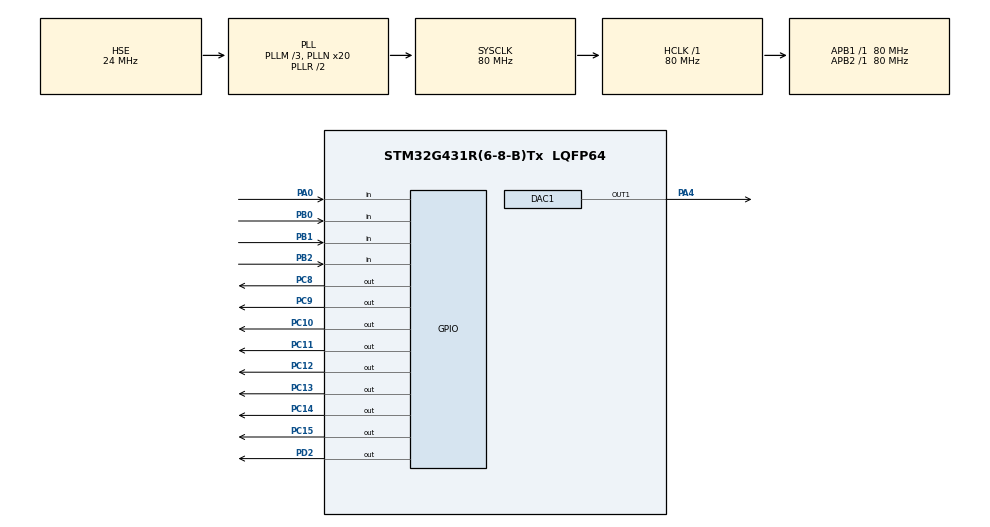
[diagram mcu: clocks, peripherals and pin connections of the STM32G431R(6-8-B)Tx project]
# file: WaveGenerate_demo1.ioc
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DAC1.DAC_HighFrequency_OUT1-DAC_OUT1=DAC_HIGH_FREQUENCY_INTERFACE_MODE_DISABLE
DAC1.DAC_Trigger_OUT1-DAC_OUT1=DAC_TRIGGER_T7_TRGO
Dma.DAC1_CH1.0.Direction=DMA_MEMORY_TO_PERIPH
Dma.DAC1_CH1.0.EventEnable=DISABLE
Dma.DAC1_CH1.0.Instance=DMA1_Channel1
Dma.DAC1_CH1.0.MemDataAlignment=DMA_MDATAALIGN_HALFWORD
Dma.DAC1_CH1.0.MemInc=DMA_MINC_ENABLE
Dma.DAC1_CH1.0.Mode=DMA_CIRCULAR
Dma.DAC1_CH1.0.PeriphDataAlignment=DMA_PDATAALIGN_WORD
Dma.DAC1_CH1.0.PeriphInc=DMA_PINC_DISABLE
Dma.DAC1_CH1.0.Polarity=HAL_DMAMUX_REQ_GEN_RISING
Dma.DAC1_CH1.0.Priority=DMA_PRIORITY_LOW
Dma.DAC1_CH1.0.RequestNumber=1
Dma.DAC1_CH1.0.SignalID=NONE
Dma.DAC1_CH1.0.SyncEnable=DISABLE
Dma.DAC1_CH1.0.SyncPolarity=HAL_DMAMUX_SYNC_NO_EVENT
Dma.DAC1_CH1.0.SyncRequestNumber=1
Dma.DAC1_CH1.0.SyncSignalID=NONE
Dma.Request0=DAC1_CH1
Mcu.Family=STM32G4
Mcu.Name=STM32G431R(6-8-B)Tx
Mcu.Package=LQFP64
NVIC.DMA1_Channel1_IRQn=true\:0\:0\:false\:false\:true\:false\:true\:true
NVIC.PriorityGroup=NVIC_PRIORITYGROUP_4
PA0.GPIO_Mode=GPIO_MODE_INPUT
PA0.GPIO_PuPd=GPIO_NOPULL
PA0.Signal=GPIO_Input
PA13.Mode=Serial_Wire
PA13.Signal=SYS_JTMS-SWDIO
PA14.Mode=Serial_Wire
PA14.Signal=SYS_JTCK-SWCLK
PA4.Signal=COMP_DAC11_group
PB0.GPIO_Mode=GPIO_MODE_INPUT
PB0.GPIO_PuPd=GPIO_NOPULL
PB0.Signal=GPIO_Input
PB1.GPIO_Mode=GPIO_MODE_INPUT
PB1.GPIO_PuPd=GPIO_NOPULL
PB1.Signal=GPIO_Input
PB2.GPIO_Mode=GPIO_MODE_INPUT
PB2.GPIO_PuPd=GPIO_NOPULL
PB2.Signal=GPIO_Input
PC10.GPIO_ModeDefaultOutputPP=GPIO_MODE_OUTPUT_PP
PC10.GPIO_PuPd=GPIO_NOPULL
PC10.GPIO_Speed=GPIO_SPEED_FREQ_LOW
PC10.PinState=GPIO_PIN_SET
PC10.Signal=GPIO_Output
PC11.GPIO_ModeDefaultOutputPP=GPIO_MODE_OUTPUT_PP
PC11.GPIO_PuPd=GPIO_NOPULL
PC11.GPIO_Speed=GPIO_SPEED_FREQ_LOW
PC11.PinState=GPIO_PIN_SET
PC11.Signal=GPIO_Output
PC12.GPIO_ModeDefaultOutputPP=GPIO_MODE_OUTPUT_PP
PC12.GPIO_PuPd=GPIO_NOPULL
PC12.GPIO_Speed=GPIO_SPEED_FREQ_LOW
PC12.PinState=GPIO_PIN_SET
PC12.Signal=GPIO_Output
PC13.GPIO_ModeDefaultOutputPP=GPIO_MODE_OUTPUT_PP
PC13.GPIO_PuPd=GPIO_NOPULL
PC13.GPIO_Speed=GPIO_SPEED_FREQ_LOW
PC13.PinState=GPIO_PIN_SET
PC13.Signal=GPIO_Output
PC14-OSC32_IN.GPIO_ModeDefaultOutputPP=GPIO_MODE_OUTPUT_PP
PC14-OSC32_IN.GPIO_PuPd=GPIO_NOPULL
PC14-OSC32_IN.GPIO_Speed=GPIO_SPEED_FREQ_LOW
PC14-OSC32_IN.PinState=GPIO_PIN_SET
PC14-OSC32_IN.Signal=GPIO_Output
PC15-OSC32_OUT.GPIO_ModeDefaultOutputPP=GPIO_MODE_OUTPUT_PP
PC15-OSC32_OUT.GPIO_PuPd=GPIO_NOPULL
PC15-OSC32_OUT.GPIO_Speed=GPIO_SPEED_FREQ_LOW
PC15-OSC32_OUT.PinState=GPIO_PIN_SET
PC15-OSC32_OUT.Signal=GPIO_Output
PC8.GPIO_ModeDefaultOutputPP=GPIO_MODE_OUTPUT_PP
PC8.GPIO_PuPd=GPIO_NOPULL
PC8.GPIO_Speed=GPIO_SPEED_FREQ_LOW
PC8.PinState=GPIO_PIN_SET
PC8.Signal=GPIO_Output
PC9.GPIO_ModeDefaultOutputPP=GPIO_MODE_OUTPUT_PP
PC9.GPIO_PuPd=GPIO_NOPULL
PC9.GPIO_Speed=GPIO_SPEED_FREQ_LOW
PC9.PinState=GPIO_PIN_SET
PC9.Signal=GPIO_Output
PD2.GPIO_ModeDefaultOutputPP=GPIO_MODE_OUTPUT_PP
PD2.GPIO_PuPd=GPIO_NOPULL
PD2.GPIO_Speed=GPIO_SPEED_FREQ_LOW
PD2.PinState=GPIO_PIN_SET
PD2.Signal=GPIO_Output
PF0-OSC_IN.Mode=HSE-External-Oscillator
PF0-OSC_IN.Signal=RCC_OSC_IN
PF1-OSC_OUT.Mode=HSE-External-Oscillator
PF1-OSC_OUT.Signal=RCC_OSC_OUT
ProjectManager.HeapSize=0x200
ProjectManager.StackSize=0x400
ProjectManager.TargetToolchain=MDK-ARM V5.32
RCC.ADC12Freq_Value=80000000
RCC.AHBFreq_Value=80000000
RCC.APB1Freq_Value=80000000
RCC.APB1TimFreq_Value=80000000
RCC.APB2Freq_Value=80000000
RCC.APB2TimFreq_Value=80000000
RCC.CortexFreq_Value=80000000
RCC.EXTERNAL_CLOCK_VALUE=12288000
RCC.HCLKFreq_Value=80000000
RCC.HSE_VALUE=24000000
RCC.HSI48_VALUE=48000000
RCC.HSI_VALUE=16000000
RCC.LSE_VALUE=32768
RCC.PLLM=RCC_PLLM_DIV3
RCC.PLLN=20
RCC.PLLSourceVirtual=RCC_PLLSOURCE_HSE
RCC.SYSCLKFreq_VALUE=80000000
RCC.SYSCLKSource=RCC_SYSCLKSOURCE_PLLCLK
RCC.USBFreq_Value=80000000
RCC.VCOOutputFreq_Value=160000000
SH.COMP_DAC11_group.0=DAC1_OUT1,DAC_OUT1
TIM7.PeriodNoDither=199
TIM7.TIM_MasterOutputTrigger=TIM_TRGO_UPDATE
VP_SYS_VS_DBSignals.Mode=DisableDeadBatterySignals
VP_TIM7_VS_ClockSourceINT.Mode=Enable_Timer
board=custom

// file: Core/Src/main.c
/* USER CODE BEGIN Header */
/**
  ******************************************************************************
  * @file           : main.c
  * @brief          : Main program body
  ******************************************************************************
  * @attention
  *
  * Copyright (c) 2025 STMicroelectronics.
  * All rights reserved.
  *
  * This software is licensed under terms that can be found in the LICENSE file
  * in the root directory of this software component.
  * If no LICENSE file comes with this software, it is provided AS-IS.
  *
  ******************************************************************************
  */
/* USER CODE END Header */
#include "main.h"
#include "dac.h"
#include "dma.h"
#include "tim.h"
#include "gpio.h"

/* USER CODE BEGIN Includes */
#include "math.h"
#include "key.h"
#include "lcd.h"
#include "My_lcd.h"
/* USER CODE END Includes */

/* USER CODE BEGIN PD */
void switch_mode(void);
uint16_t buff[400] = {0};
float amplitude_v   = 1.0f;
float frequency_khz = 1.0f;
uint16_t amplitude_u16;
uint8_t mode = 0;

uint32_t key_update_kick = 0;
uint32_t lcd_update_kick = 0;
/* USER CODE END PD */

void SystemClock_Config(void);

int main(void)
{

  /* MCU Configuration--------------------------------------------------------*/

  /* Reset of all peripherals, Initializes the Flash interface and the Systick. */
  HAL_Init();

  /* Configure the system clock */
  SystemClock_Config();

  /* Initialize all configured peripherals */
  MX_GPIO_Init();
  MX_DMA_Init();
  MX_DAC1_Init();
  MX_TIM7_Init();
  /* USER CODE BEGIN 2 */
	HAL_GPIO_WritePin(GPIOD, GPIO_PIN_2, GPIO_PIN_RESET);
	LCD_Init();
  LCD_Clear(Black);
  LCD_SetBackColor(Black);
  LCD_SetTextColor(White);
	HAL_TIM_Base_Start(&htim7);//开启定时器
//	amplitude_u16 = (uint16_t)(amplitude_v * 4095/3.3);//4095:12位DAC最大输出值；  3.3：参考电压；
//	float omega = 2 * 3.1415926f * frequency_khz / 400.0f;//提前计算用到的浮点数，使代码运行更流畅
//	for(uint16_t i = 0;i < 400;i++)
//	{
//		buff[i] = amplitude_u16 + amplitude_u16 * (sin(omega * i));
//	}
//	for(uint16_t i = 0;i < 400;i++)
//	{
//		buff[i] = 2000+2000*(sin(2*3.14/400*i));
//	}                          //计算波点对应值并装入数组
//	HAL_DAC_Start_DMA(&hdac1,DAC_CHANNEL_1,(uint32_t *)&buff[0],400,DAC_ALIGN_12B_R);//开启DAC和DMA转运
  /* USER CODE END 2 */

  /* Infinite loop */
  /* USER CODE BEGIN WHILE */
  while (1)
  {
		if(HAL_GetTick() - key_update_kick >=10)
		{
			key_serv();//10ms进行一次按键扫描
			key_update_kick = HAL_GetTick();
		}
		key_proc();
		switch_mode();
		if(HAL_GetTick() - lcd_update_kick >=100)
		{
			lcd_proc();//100ms刷新一次lcd
			lcd_update_kick = HAL_GetTick();
		}
    /* USER CODE END WHILE */

    /* USER CODE BEGIN 3 */
		GPIOA->ODR ^= 1 << 5;
    HAL_Delay(4);//延时满足数据计算、写入的时间需求
  }
  /* USER CODE END 3 */
}

void SystemClock_Config(void)
{
  RCC_OscInitTypeDef RCC_OscInitStruct = {0};
  RCC_ClkInitTypeDef RCC_ClkInitStruct = {0};

  /** Configure the main internal regulator output voltage
  */
  HAL_PWREx_ControlVoltageScaling(PWR_REGULATOR_VOLTAGE_SCALE1);

  /** Initializes the RCC Oscillators according to the specified parameters
  * in the RCC_OscInitTypeDef structure.
  */
  RCC_OscInitStruct.OscillatorType = RCC_OSCILLATORTYPE_HSE;
  RCC_OscInitStruct.HSEState = RCC_HSE_ON;
  RCC_OscInitStruct.PLL.PLLState = RCC_PLL_ON;
  RCC_OscInitStruct.PLL.PLLSource = RCC_PLLSOURCE_HSE;
  RCC_OscInitStruct.PLL.PLLM = RCC_PLLM_DIV3;
  RCC_OscInitStruct.PLL.PLLN = 20;
  RCC_OscInitStruct.PLL.PLLP = RCC_PLLP_DIV2;
  RCC_OscInitStruct.PLL.PLLQ = RCC_PLLQ_DIV2;
  RCC_OscInitStruct.PLL.PLLR = RCC_PLLR_DIV2;
  if (HAL_RCC_OscConfig(&RCC_OscInitStruct) != HAL_OK)
  {
    Error_Handler();
  }

  /** Initializes the CPU, AHB and APB buses clocks
  */
  RCC_ClkInitStruct.ClockType = RCC_CLOCKTYPE_HCLK|RCC_CLOCKTYPE_SYSCLK
                              |RCC_CLOCKTYPE_PCLK1|RCC_CLOCKTYPE_PCLK2;
  RCC_ClkInitStruct.SYSCLKSource = RCC_SYSCLKSOURCE_PLLCLK;
  RCC_ClkInitStruct.AHBCLKDivider = RCC_SYSCLK_DIV1;
  RCC_ClkInitStruct.APB1CLKDivider = RCC_HCLK_DIV1;
  RCC_ClkInitStruct.APB2CLKDivider = RCC_HCLK_DIV1;

  if (HAL_RCC_ClockConfig(&RCC_ClkInitStruct, FLASH_LATENCY_2) != HAL_OK)
  {
    Error_Handler();
  }
}

/* USER CODE BEGIN 4 */
void switch_mode(void)
{
    amplitude_u16   = (uint16_t)(amplitude_v * 4095 / 3.3f);
    float omega = 2 * 3.1415926f * frequency_khz / 400.0f;

    switch (mode)
    {
        case 0: // 正弦波
            for (uint16_t i = 0; i < 400; i++)
            {
                float sine_value = sin(omega * i);
                buff[i] = amplitude_u16 + (uint16_t)(amplitude_u16 * sine_value);
            }
            break;

        case 1: // 方波
            for (int i = 0; i < 400; i++)
            {
                buff[i] = amplitude_u16 + ((sin(omega * i) > 0) ? amplitude_u16 : -amplitude_u16);
            }
            break;

        case 2: // 三角波
            for (int i = 0; i < 400; i++)
            {
                float t = (i * frequency_khz) / (float)400;
                buff[i] = amplitude_u16 + amplitude_u16 * (2.0 * fabs(2.0 * (t - floor(t + 0.5))) - 1.0);
            }
            break;

        case 3: // 锯齿波
            for (int i = 0; i < 400; i++)
            {
                float t = (i * frequency_khz) / (float)400;
                buff[i] = amplitude_u16 + amplitude_u16 * (2.0 * (t - floor(t)) - 1.0);
            }
            break;

        default:
            break;
    }

    HAL_DAC_Start_DMA(&hdac1, DAC_CHANNEL_1, (uint32_t *)&buff[0], 400, DAC_ALIGN_12B_R);
}
/* USER CODE END 4 */

void Error_Handler(void)
{
  __disable_irq();
  while (1)
  {
  }
}
